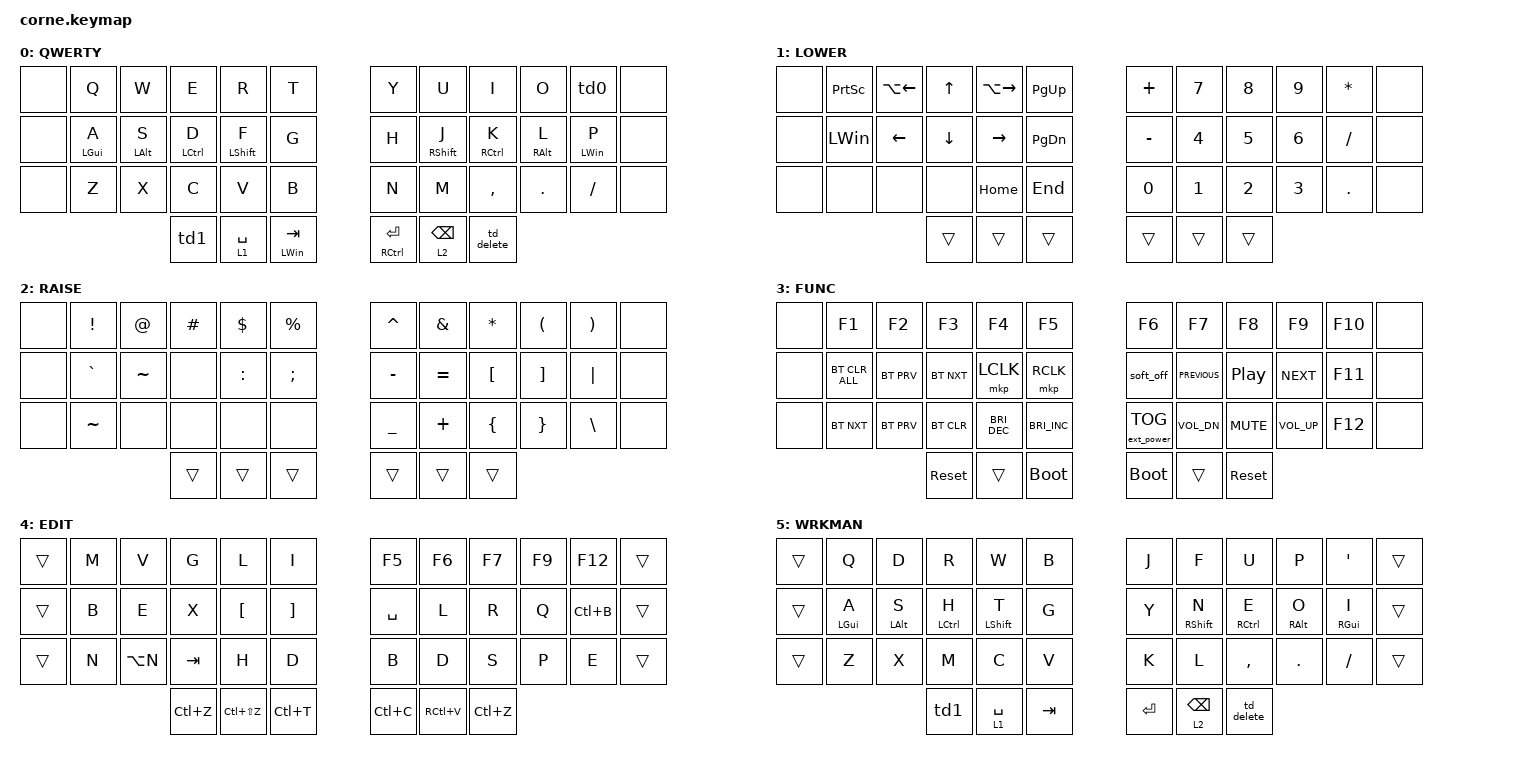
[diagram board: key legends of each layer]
/*
 * Copyright (c) 2020 The ZMK Contributors
 *
 * SPDX-License-Identifier: MIT
 */

#include <behaviors.dtsi>
#include <dt-bindings/zmk/bt.h>
#include <dt-bindings/zmk/ext_power.h>
#include <dt-bindings/zmk/keys.h>
#include <dt-bindings/zmk/pointing.h>

// LAYERS

#define def 0
#define lower  1
#define raise     2
#define func    3

// MACROS

#define SUPER LC(LSHIFT)
#define SUPER2 LA(LC(LSHIFT))

/ {
    behaviors {
        hm: homerow_mods {
            compatible = "zmk,behavior-hold-tap";
            label = "HOMEROW_MODS";
            #binding-cells = <2>;
            tapping-term-ms = <175>;
            quick-tap-ms = <0>;
            flavor = "tap-preferred";
            bindings = <&kp>, <&kp>;
        };

        td0: tap_dance_0 {
            compatible = "zmk,behavior-tap-dance";
            label = "TAP_DANCE_0";
            #binding-cells = <0>;
            tapping-term-ms = <170>;
            bindings = <&kp SQT>, <&kp SEMICOLON>;
        };

        td1: tap_dance_1 {
            compatible = "zmk,behavior-tap-dance";
            label = "TAP_DANCE_1";
            #binding-cells = <0>;
            tapping-term-ms = <180>;
            bindings = <&kp LC(BACKSPACE)>, <&helixregistry>;
        };

        td_delete: td_delete {
            compatible = "zmk,behavior-tap-dance";
            label = "TD_DELETE";
            #binding-cells = <0>;
            tapping-term-ms = <170>;
            bindings = <&kp ESCAPE>, <&kp CAPSLOCK>;
        };
    };

    combos {
        compatible = "zmk,combos";

        combo_cword {
            timeout-ms = <50>;
            key-positions = <13 16>;
            bindings = <&caps_word>;
        };

        delword {
            bindings = <&kp LC(BACKSPACE)>;
            key-positions = <11 12 13>;
        };

        entercombo {
            bindings = <&kp ENTER>;
            key-positions = <16 17 18 19>;
        };

        newline {
            bindings = <&kp LS(ENTER)>;
            key-positions = <18 17 16>;
        };

        production {
            bindings = <&tog 4>;
            key-positions = <0 1 8 9>;
        };

        delall {
            bindings = <&deleteall>;
            key-positions = <12 13 10 11>;
        };

        vimexit {
            bindings = <&vim_quit>;
            key-positions = <8 9>;
        };

        worksman {
            bindings = <&tog 5>;
            key-positions = <20 21 28 29>;
        };
    };

    macros {
        vim_quit: vim_quit {
            label = "ZM_vim_quit";
            compatible = "zmk,behavior-macro";
            #binding-cells = <0>;
            bindings = <&macro_tap>, <&kp ESC &kp COLON &kp W &kp Q &kp ENTER>;
        };

        helixregistry: helixregistry {
            compatible = "zmk,behavior-macro";
            #binding-cells = <0>;
            bindings = <&kp DOUBLE_QUOTES &kp PLUS>;
            label = "HELIXREGISTRY";
        };

        deleteall: deleteall {
            compatible = "zmk,behavior-macro";
            #binding-cells = <0>;
            bindings = <&kp LC(A) &kp BACKSPACE>;
            label = "DELETEALL";
        };

        wholeline: wholeline {
            compatible = "zmk,behavior-macro";
            #binding-cells = <0>;
            bindings = <&kp LS(HOME) &kp LS(END) &kp BACKSPACE>;
            label = "WHOLELINE";
        };
    };

    keymap {
        compatible = "zmk,keymap";

        def {
            label = "QWERTY";
            bindings = <
&none  &kp Q       &kp W       &kp E        &kp R         &kp T               &kp Y            &kp U            &kp I        &kp O       &td0            &none
&none  &hm LGUI A  &hm LALT S  &hm LCTRL D  &hm LSHIFT F  &kp G               &kp H            &hm RSHIFT J     &hm RCTRL K  &hm RALT L  &hm LEFT_WIN P  &none
&none  &kp Z       &kp X       &kp C        &kp V         &kp B               &kp N            &kp M            &kp COMMA    &kp DOT     &kp FSLH        &none
                               &td1         &lt 1 SPACE   &mt LEFT_WIN TAB    &mt RCTRL ENTER  &lt 2 BACKSPACE  &td_delete
            >;
        };

        lower {
            label = "LOWER";
            bindings = <
&none  &kp PRINTSCREEN  &kp LA(LEFT)  &kp UP    &kp LA(RIGHT)  &kp PG_UP    &kp PLUS   &kp N7  &kp N8  &kp N9  &kp ASTERISK  &none
&none  &kp LEFT_WIN     &kp LEFT      &kp DOWN  &kp RIGHT      &kp PG_DN    &kp MINUS  &kp N4  &kp N5  &kp N6  &kp SLASH     &none
&none  &none            &none         &none     &kp HOME       &kp END      &kp N0     &kp N1  &kp N2  &kp N3  &kp DOT       &none
                                      &trans    &trans         &trans       &trans     &trans  &trans
            >;
        };

        raise {
            label = "RAISE";
            bindings = <
&none  &kp EXCL   &kp AT     &kp HASH  &kp DLLR   &kp PRCNT        &kp CARET  &kp AMPS   &kp ASTERISK  &kp LPAR  &kp RIGHT_PARENTHESIS  &none
&none  &kp GRAVE  &kp TILDE  &none     &kp COLON  &kp SEMICOLON    &kp MINUS  &kp EQUAL  &kp LBKT      &kp RBKT  &kp PIPE               &none
&none  &kp TILDE  &none      &none     &none      &none            &kp UNDER  &kp PLUS   &kp LBRC      &kp RBRC  &kp BACKSLASH          &none
                             &trans    &trans     &trans           &trans     &trans     &trans
            >;
        };

        func {
            label = "FUNC";
            bindings = <
&none  &kp F1          &kp F2      &kp F3      &kp F4         &kp F5           &kp F6             &kp F7          &kp F8            &kp F9           &kp F10  &none
&none  &bt BT_CLR_ALL  &bt BT_PRV  &bt BT_NXT  &mkp LCLK      &mkp RCLK        &soft_off          &kp C_PREVIOUS  &kp C_PLAY_PAUSE  &kp C_NEXT       &kp F11  &none
&none  &bt BT_NXT      &bt BT_PRV  &bt BT_CLR  &kp C_BRI_DEC  &kp C_BRI_INC    &ext_power EP_TOG  &kp C_VOL_DN    &kp K_MUTE        &kp C_VOLUME_UP  &kp F12  &none
                                   &sys_reset  &trans         &bootloader      &bootloader        &trans          &sys_reset
            >;
        };

        edit {
            label = "EDIT";
            bindings = <
&trans  &kp M      &kp V     &kp G      &kp L          &kp I        &kp F5     &kp F6         &kp F7     &kp F9    &kp F12   &trans
&trans  &kp B      &kp E     &kp X      &kp LBKT       &kp RBKT     &kp SPACE  &kp L          &kp R      &kp Q     &kp LC(B) &trans
&trans  &kp N      &kp LA(N) &kp TAB    &kp H          &kp D        &kp B      &kp D          &kp S      &kp P     &kp E     &trans
                             &kp LC(Z)  &kp LC(LS(Z))  &kp LC(T)    &kp LC(C)  &kp RC(V)      &kp LC(Z)
            >;
        };
        workman {
            label = "WRKMAN";
            bindings = <
&trans  &kp Q       &kp D           &kp R        &kp W             &kp B      &kp J      &kp F              &kp U        &kp P            &kp APOS         &trans
&trans  &hm LGUI A  &hm LEFT_ALT S  &hm LCTRL H  &hm LEFT_SHIFT T  &kp G      &kp Y      &hm RIGHT_SHIFT N  &hm RCTRL E  &hm RIGHT_ALT O  &hm RIGHT_GUI I  &trans
&trans  &kp Z       &kp X           &kp M        &kp C             &kp V      &kp K      &kp L              &kp COMMA    &kp DOT          &kp FSLH         &trans
                                    &td1         &lt 1 SPACE       &kp TAB    &kp ENTER  &lt 2 BACKSPACE    &td_delete
            >;
        };
    };

    conditional_layers {
        compatible = "zmk,conditional-layers";

        funcwhenboth {
            if-layers = <1 2>;
            then-layer = <3>;
        };
    };
};
